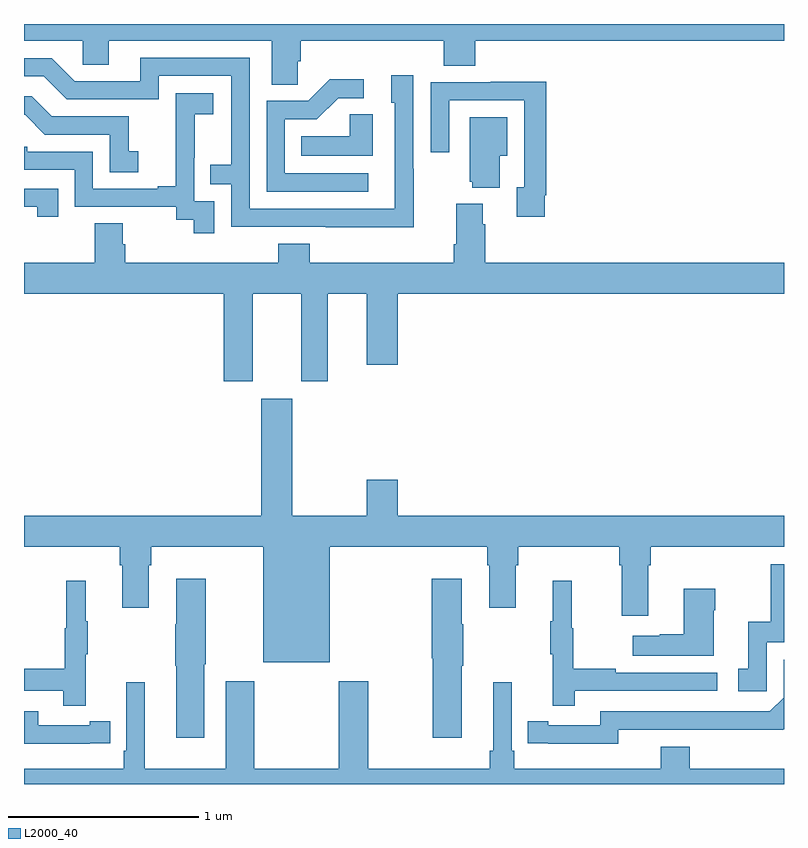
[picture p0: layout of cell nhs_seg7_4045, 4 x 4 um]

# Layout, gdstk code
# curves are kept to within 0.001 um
import gdstk
lib = gdstk.Library(unit=1e-6, precision=1e-09)
def P(c, l, *ps):  # polygons
    for p in ps: c.add(gdstk.Polygon(p, *l))
L2000_40 = (2000, 40)

nhs_seg7_4045 = lib.new_cell('nhs_seg7_4045')
P(nhs_seg7_4045, L2000_40, [(367,1037.912),(367.308,1037.912),(367.308,1037.785),(367.447,1037.785),(367.447,1037.912),(368.303,1037.912),(368.303,1037.68),(368.442,1037.68),(368.442,1037.803),(368.456,1037.803),(368.456,1037.912),(369.209,1037.912),(369.209,1037.779),(369.374,1037.779),(369.374,1037.912),(371,1037.912),(371,1038),(367,1038)],
  [(369.051,1037.237),(369.048,1037.237),(369.048,1037.731),(368.933,1037.731),(368.933,1037.586),(368.952,1037.586),(368.952,1037.028),(368.187,1037.028),(368.187,1037.823),(367.613,1037.823),(367.613,1037.7),(367.266,1037.7),(367.146,1037.82),(367,1037.82),(367,1037.724),(367.104,1037.724),(367.224,1037.604),(367.71,1037.604),(367.71,1037.727),(368.091,1037.727),(368.091,1037.258),(367.981,1037.258),(367.981,1037.157),(368.091,1037.157),(368.091,1036.932),(368.587,1036.932),(368.587,1036.93),(369.051,1036.93)],
  [(368.812,1037.214),(368.373,1037.214),(368.373,1037.499),(368.542,1037.499),(368.653,1037.61),(368.788,1037.61),(368.788,1037.708),(368.609,1037.708),(368.496,1037.595),(368.277,1037.595),(368.277,1037.118),(368.812,1037.118)],
  [(369.742,1037.098),(369.749,1037.098),(369.749,1037.696),(369.457,1037.696),(369.457,1037.694),(369.141,1037.694),(369.141,1037.325),(369.237,1037.325),(369.237,1037.598),(369.633,1037.598),(369.633,1037.142),(369.593,1037.142),(369.593,1036.986),(369.742,1036.986)],
  [(368.001,1037.067),(367.896,1037.067),(367.896,1037.297),(367.898,1037.297),(367.898,1037.525),(367.996,1037.525),(367.996,1037.635),(367.798,1037.635),(367.798,1037.429),(367.799,1037.429),(367.799,1037.146),(367.703,1037.146),(367.703,1037.133),(367.362,1037.133),(367.362,1037.328),(367.017,1037.328),(367.017,1037.355),(367,1037.355),(367,1037.232),(367.266,1037.232),(367.266,1037.037),(367.8,1037.037),(367.8,1036.969),(367.893,1036.969),(367.893,1036.899),(368.001,1036.899)],
  [(367.6,1037.329),(367.551,1037.329),(367.551,1037.514),(367.147,1037.514),(367.042,1037.619),(367,1037.619),(367,1037.522),(367.006,1037.522),(367.11,1037.418),(367.452,1037.418),(367.452,1037.22),(367.6,1037.22)],
  [(368.836,1037.525),(368.715,1037.525),(368.715,1037.41),(368.458,1037.41),(368.458,1037.306),(368.836,1037.306)],
  [(369.505,1037.306),(369.544,1037.306),(369.544,1037.509),(369.347,1037.509),(369.347,1037.169),(369.359,1037.169),(369.359,1037.138),(369.505,1037.138)],
  [(367.181,1037.133),(367,1037.133),(367,1037.037),(367.07,1037.037),(367.07,1036.986),(367.181,1036.986)],
  [(368.203,1036.58),(368.459,1036.58),(368.459,1036.119),(368.599,1036.119),(368.599,1036.58),(368.804,1036.58),(368.804,1036.206),(368.968,1036.206),(368.968,1036.58),(371,1036.58),(371,1036.744),(369.428,1036.744),(369.428,1036.946),(369.415,1036.946),(369.415,1037.053),(369.275,1037.053),(369.275,1036.84),(369.263,1036.84),(369.263,1036.744),(368.504,1036.744),(368.504,1036.843),(368.339,1036.843),(368.339,1036.744),(367.532,1036.744),(367.532,1036.842),(367.519,1036.842),(367.519,1036.952),(367.372,1036.952),(367.372,1036.744),(367,1036.744),(367,1036.58),(368.051,1036.58),(368.051,1036.119),(368.203,1036.119)],
  [(368.608,1035.248),(369.437,1035.248),(369.437,1035.152),(369.449,1035.152),(369.449,1034.928),(369.589,1034.928),(369.589,1035.152),(369.602,1035.152),(369.602,1035.248),(370.133,1035.248),(370.133,1035.152),(370.145,1035.152),(370.145,1034.886),(370.285,1034.886),(370.285,1035.152),(370.298,1035.152),(370.298,1035.248),(371,1035.248),(371,1035.412),(368.968,1035.412),(368.968,1035.601),(368.804,1035.601),(368.804,1035.412),(368.413,1035.412),(368.413,1036.027),(368.249,1036.027),(368.249,1035.412),(367,1035.412),(367,1035.248),(367.505,1035.248),(367.505,1035.152),(367.517,1035.152),(367.517,1034.928),(367.657,1034.928),(367.657,1035.152),(367.67,1035.152),(367.67,1035.248),(368.258,1035.248),(368.258,1034.642),(368.608,1034.642)],
  [(370.908,1034.745),(371,1034.745),(371,1035.156),(370.929,1035.156),(370.929,1034.853),(370.811,1034.853),(370.811,1034.607),(370.758,1034.607),(370.758,1034.487),(370.908,1034.487)],
  [(369.304,1034.623),(369.312,1034.623),(369.312,1034.84),(369.304,1034.84),(369.304,1035.079),(369.146,1035.079),(369.146,1034.661),(369.151,1034.661),(369.151,1034.244),(369.304,1034.244)],
  [(367.948,1034.629),(367.956,1034.629),(367.956,1035.079),(367.802,1035.079),(367.802,1034.84),(367.795,1034.84),(367.795,1034.623),(367.802,1034.623),(367.802,1034.244),(367.948,1034.244)],
  [(367.325,1034.683),(367.336,1034.683),(367.336,1034.857),(367.325,1034.857),(367.325,1035.07),(367.222,1035.07),(367.222,1034.82),(367.215,1034.82),(367.215,1034.606),(367,1034.606),(367,1034.49),(367.207,1034.49),(367.207,1034.412),(367.325,1034.412)],
  [(369.899,1034.49),(370.648,1034.49),(370.648,1034.586),(370.115,1034.586),(370.115,1034.606),(369.892,1034.606),(369.892,1034.82),(369.884,1034.82),(369.884,1035.07),(369.782,1035.07),(369.782,1034.857),(369.771,1034.857),(369.771,1034.683),(369.782,1034.683),(369.782,1034.412),(369.899,1034.412)],
  [(370.63,1034.915),(370.638,1034.915),(370.638,1035.028),(370.472,1035.028),(370.472,1034.789),(370.346,1034.789),(370.346,1034.779),(370.203,1034.779),(370.203,1034.675),(370.63,1034.675)],
  [(370.128,1034.286),(370.996,1034.285),(371,1034.289),(371,1034.655),(370.998,1034.655),(370.998,1034.454),(370.926,1034.382),(370.032,1034.382),(370.032,1034.31),(369.76,1034.31),(369.76,1034.33),(369.652,1034.33),(369.652,1034.214),(370.128,1034.213)],
  [(371,1034.08),(370.505,1034.08),(370.505,1034.197),(370.352,1034.197),(370.352,1034.08),(369.581,1034.08),(369.581,1034.176),(369.567,1034.176),(369.567,1034.536),(369.47,1034.536),(369.47,1034.176),(369.451,1034.176),(369.451,1034.08),(368.811,1034.08),(368.811,1034.542),(368.656,1034.542),(368.656,1034.08),(368.211,1034.08),(368.211,1034.542),(368.063,1034.542),(368.063,1034.08),(367.636,1034.08),(367.636,1034.536),(367.539,1034.536),(367.539,1034.176),(367.526,1034.176),(367.526,1034.08),(367,1034.08),(367,1034),(371,1034)],
  [(367.346,1034.214),(367.454,1034.214),(367.454,1034.33),(367.346,1034.33),(367.346,1034.31),(367.074,1034.31),(367.074,1034.382),(367,1034.382),(367,1034.213),(367.346,1034.213)])

lib.write_gds('nhs_seg7_4045.gds')
